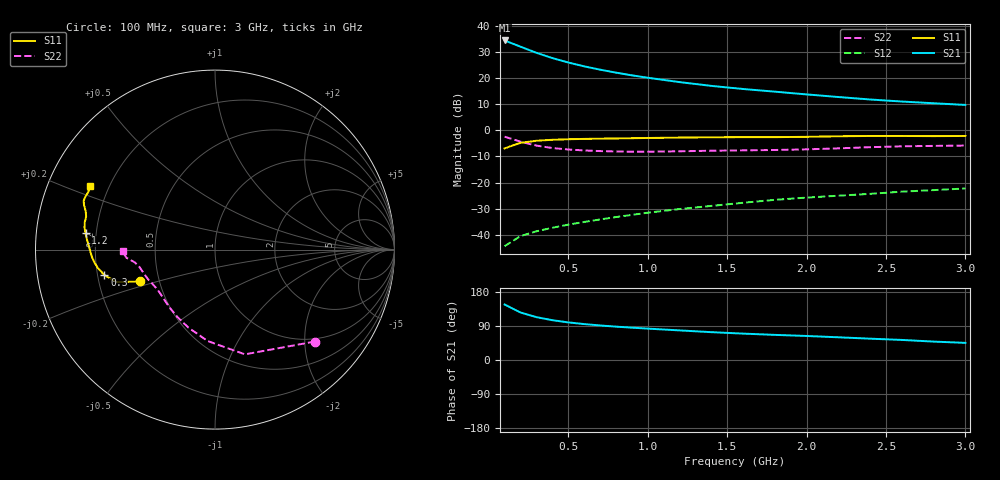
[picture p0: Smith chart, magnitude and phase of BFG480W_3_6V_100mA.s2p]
! Filename: 3_6100BFG480.001
! Title: BFG480W
! Bias: Vce=3.6V; Ic=100mA
! Company: Philips Semiconductors NL
! User: Quality&Reliability T&D
! Measure time: 10 Nov 1999 / 12:01:00
#  MHz  S  MA  R 50
! Freq  S11  S21  S12  S22  :
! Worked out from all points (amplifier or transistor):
!   20 points, 100 MHz to 3 GHz, reference 50 ohm
!   highest |S21| = 34.4 dB at 100 MHz (marker M1)
!   |S21| within 3 dB of that: start of sweep to 226.5 MHz
!   unconditionally stable (mu >= 1): 700.8 MHz to end of sweep
!   at 400 MHz: K = 0.82, MSG = 32.5 dB, |S12| = -37.3 dB
!   at 1.2 GHz: K = 1.08, MAG = 22.6 dB, |S12| = -30.1 dB
!   at 3 GHz: K = 1.05, MAG = 14.6 dB, |S12| = -22.2 dB
!   S11 on the Smith chart (normalised r, x): 100 MHz: 0.39, -0.17; 300 MHz: 0.23, -0.11; 1.2 GHz: 0.16, +0.06; 3 GHz: 0.13, +0.24
100  0.4525 -156.9  52.39 146.4  0.006093 69.5  0.7567 -42.6
200  0.5772 -161.7  39.84 125.3  0.009498 60.6  0.6069 -74.1
300  0.632 -167.0  30.42 113.1  0.01174 59.8  0.511 -94.6
400  0.6598 -170.9  24.14 105.1  0.01369 61.5  0.4592 -108.8
500  0.6758 -174.0  19.87 99.3  0.01571 63.6  0.4303 -119.0
600  0.6863 -176.5  16.77 94.8  0.01769 65.6  0.4129 -126.6
700  0.6936 -178.7  14.49 91.2  0.01975 67.8  0.4014 -132.5
800  0.6999 179.3  12.71 88.0  0.02194 69.3  0.3943 -137.4
900  0.7075 177.4  11.29 85.4  0.02415 71.2  0.3907 -141.6
1000  0.7146 175.7  10.15 82.9  0.02657 72.1  0.3905 -145.4
1200  0.7273 172.8  8.378 78.1  0.03125 73.6  0.3974 -151.4
1400  0.7369 170.5  7.091 73.5  0.03585 74.5  0.4076 -155.9
1600  0.7416 168.2  6.185 69.7  0.04116 75.2  0.4138 -159.4
1800  0.7413 165.6  5.498 66.3  0.04688 75.7  0.4213 -163.0
2000  0.7517 163.4  4.867 63.4  0.05174 76.3  0.4329 -167.3
2200  0.7705 161.3  4.343 59.9  0.05619 76.1  0.4523 -170.9
2400  0.7808 159.6  3.891 56.3  0.06103 75.5  0.4764 -173.2
2600  0.7801 157.9  3.558 53.0  0.06724 74.9  0.4953 -174.7
2800  0.7756 155.6  3.299 48.6  0.07197 73.4  0.5042 -176.5
3000  0.7804 153.0  3.064 45.2  0.07732 72.6  0.5119 -179.3
